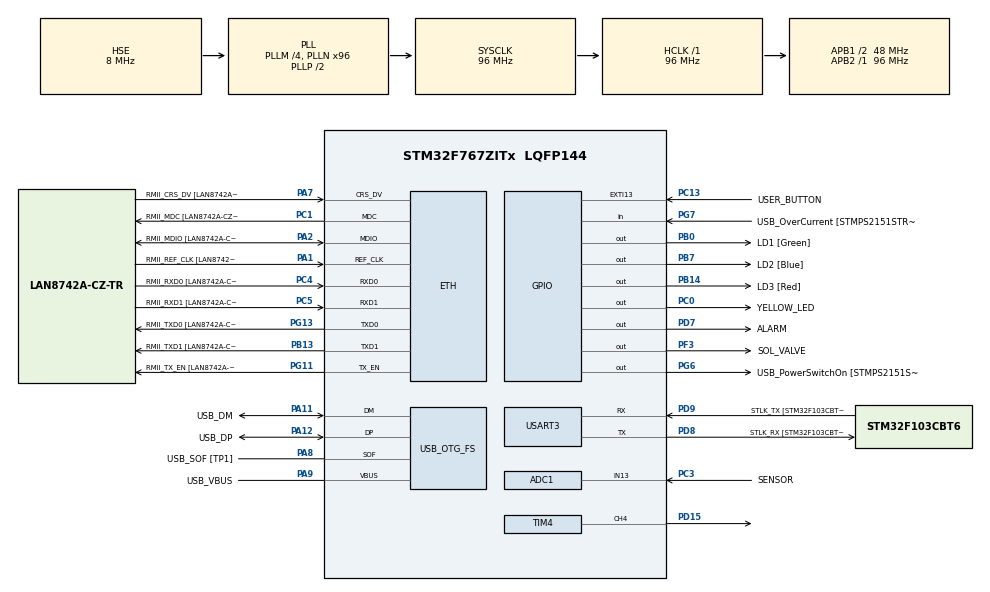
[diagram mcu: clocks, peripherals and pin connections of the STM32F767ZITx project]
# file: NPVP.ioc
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ADC1.Channel-0\#ChannelRegularConversion=ADC_CHANNEL_13
ADC1.ContinuousConvMode=ENABLE
ADC1.DMAContinuousRequests=DISABLE
ADC1.ExternalTrigConv=ADC_SOFTWARE_START
ADC1.InjNumberOfConversion=0
ADC1.NbrOfConversion=1
ADC1.NbrOfConversionFlag=1
ADC1.Rank-0\#ChannelRegularConversion=1
ADC1.SamplingTime-0\#ChannelRegularConversion=ADC_SAMPLETIME_480CYCLES
ADC1.master=1
ETH.MediaInterface=HAL_ETH_RMII_MODE
ETH.PHY_Name=LAN8742A_PHY_ADDRESS
ETH.PHY_Value=0
ETH.PhyAddress=0
Mcu.Family=STM32F7
Mcu.Name=STM32F767ZITx
Mcu.Package=LQFP144
NVIC.EXTI15_10_IRQn=true\:0\:0\:false\:false\:true\:true\:true\:true
NVIC.PriorityGroup=NVIC_PRIORITYGROUP_4
NVIC.TIM2_IRQn=true\:0\:0\:false\:false\:true\:true\:true\:true
NVIC.TIM6_DAC_IRQn=true\:0\:0\:false\:false\:true\:true\:true\:true
NVIC.TIM7_IRQn=true\:0\:0\:false\:false\:true\:true\:true\:true
NVIC.USART3_IRQn=true\:0\:0\:false\:false\:true\:true\:true\:true
PA1.GPIO_Label=RMII_REF_CLK [LAN8742A-CZ-TR_REFCLK0]
PA1.Mode=RMII
PA1.Signal=ETH_REF_CLK
PA10.GPIO_Label=USB_ID
PA10.Signal=USB_OTG_FS_ID
PA11.GPIO_Label=USB_DM
PA11.Mode=Device_Only
PA11.Signal=USB_OTG_FS_DM
PA12.GPIO_Label=USB_DP
PA12.Mode=Device_Only
PA12.Signal=USB_OTG_FS_DP
PA13.GPIO_Label=TMS
PA13.Mode=Serial_Wire
PA13.Signal=SYS_JTMS-SWDIO
PA14.GPIO_Label=TCK
PA14.Mode=Serial_Wire
PA14.Signal=SYS_JTCK-SWCLK
PA2.GPIO_Label=RMII_MDIO [LAN8742A-CZ-TR_MDIO]
PA2.Mode=RMII
PA2.Signal=ETH_MDIO
PA7.GPIO_Label=RMII_CRS_DV [LAN8742A-CZ-TR_CRS_DV]
PA7.Mode=RMII
PA7.Signal=ETH_CRS_DV
PA8.GPIO_Label=USB_SOF [TP1]
PA8.Mode=Activate_SOF_FS
PA8.Signal=USB_OTG_FS_SOF
PA9.GPIO_Label=USB_VBUS
PA9.Mode=Activate_VBUS
PA9.Signal=USB_OTG_FS_VBUS
PB0.GPIO_Label=LD1 [Green]
PB0.Signal=GPIO_Output
PB13.GPIO_Label=RMII_TXD1 [LAN8742A-CZ-TR_TXD1]
PB13.Mode=RMII
PB13.Signal=ETH_TXD1
PB14.GPIO_Label=LD3 [Red]
PB14.Signal=GPIO_Output
PB3.GPIO_Label=SWO
PB3.Signal=SYS_JTDO-SWO
PB7.GPIO_Label=LD2 [Blue]
PB7.Signal=GPIO_Output
PC0.GPIO_Label=YELLOW_LED
PC0.Signal=GPIO_Output
PC1.GPIO_Label=RMII_MDC [LAN8742A-CZ-TR_MDC]
PC1.Mode=RMII
PC1.Signal=ETH_MDC
PC13.GPIO_Label=USER_BUTTON
PC13.Signal=GPXTI13
PC14/OSC32_IN.Mode=LSE-External-Oscillator
PC14/OSC32_IN.Signal=RCC_OSC32_IN
PC15/OSC32_OUT.Mode=LSE-External-Oscillator
PC15/OSC32_OUT.Signal=RCC_OSC32_OUT
PC3.GPIO_Label=SENSOR
PC3.Signal=ADCx_IN13
PC4.GPIO_Label=RMII_RXD0 [LAN8742A-CZ-TR_RXD0]
PC4.Mode=RMII
PC4.Signal=ETH_RXD0
PC5.GPIO_Label=RMII_RXD1 [LAN8742A-CZ-TR_RXD1]
PC5.Mode=RMII
PC5.Signal=ETH_RXD1
PD15.Signal=S_TIM4_CH4
PD7.GPIO_Label=ALARM
PD7.GPIO_PuPd=GPIO_PULLDOWN
PD7.Signal=GPIO_Output
PD8.GPIO_Label=STLK_RX [STM32F103CBT6_PA3]
PD8.Mode=Asynchronous
PD8.Signal=USART3_TX
PD9.GPIO_Label=STLK_TX [STM32F103CBT6_PA2]
PD9.Mode=Asynchronous
PD9.Signal=USART3_RX
PE9.Signal=S_TIM1_CH1
PF3.GPIO_Label=SOL_VALVE
PF3.Signal=GPIO_Output
PG11.GPIO_Label=RMII_TX_EN [LAN8742A-CZ-TR_TXEN]
PG11.Mode=RMII
PG11.Signal=ETH_TX_EN
PG13.GPIO_Label=RMII_TXD0 [LAN8742A-CZ-TR_TXD0]
PG13.Mode=RMII
PG13.Signal=ETH_TXD0
PG6.GPIO_Label=USB_PowerSwitchOn [STMPS2151STR_EN]
PG6.Signal=GPIO_Output
PG7.GPIO_Label=USB_OverCurrent [STMPS2151STR_FAULT]
PG7.Signal=GPIO_Input
PH0/OSC_IN.GPIO_Label=MCO [STM32F103CBT6_PA8]
PH0/OSC_IN.Mode=HSE-External-Clock-Source
PH0/OSC_IN.Signal=RCC_OSC_IN
PH1/OSC_OUT.Mode=HSE-External-Clock-Source
PH1/OSC_OUT.Signal=RCC_OSC_OUT
ProjectManager.HeapSize=0x200
ProjectManager.StackSize=0x400
ProjectManager.TargetToolchain=STM32CubeIDE
RCC.48MHZClocksFreq_Value=24000000
RCC.AHBFreq_Value=96000000
RCC.APB1CLKDivider=RCC_HCLK_DIV2
RCC.APB1Freq_Value=48000000
RCC.APB1TimFreq_Value=96000000
RCC.APB2Freq_Value=96000000
RCC.APB2TimFreq_Value=96000000
RCC.CortexFreq_Value=96000000
RCC.HCLKFreq_Value=96000000
RCC.HSE_VALUE=8000000
RCC.HSI_VALUE=16000000
RCC.PLLM=4
RCC.PLLMUL=RCC_PLL_MUL9
RCC.PLLN=96
RCC.PLLQ=4
RCC.PRESCALERUSB=RCC_USBCLKSOURCE_PLL_DIV1_5
RCC.SYSCLKFreq_VALUE=96000000
RCC.SYSCLKSource=RCC_SYSCLKSOURCE_PLLCLK
RCC.SYSCLKSourceVirtual=RCC_SYSCLKSOURCE_PLLCLK
RCC.USBFreq_Value=48000000
RCC.VCOOutputFreq_Value=192000000
SH.ADCx_IN13.0=ADC1_IN13,IN13
SH.S_TIM1_CH1.0=TIM1_CH1
SH.S_TIM4_CH4.0=TIM4_CH4,PWM Generation4 CH4
TIM2.Period=64000-1
TIM2.Prescaler=3-1
TIM2.TIM_MasterOutputTrigger=TIM_TRGO_RESET
TIM4.AutoReloadPreload=TIM_AUTORELOAD_PRELOAD_DISABLE
TIM4.Channel-PWM\ Generation4\ CH4=TIM_CHANNEL_4
TIM4.Period=9600-1
TIM4.Prescaler=2-1
TIM4.Pulse-PWM\ Generation4\ CH4=0
TIM4.TIM_MasterOutputTrigger=TIM_TRGO_RESET
TIM6.Period=48000-1
TIM6.Prescaler=2-1
TIM7.Period=48000-1
TIM7.Prescaler=2-1
USART3.VirtualMode-Asynchronous=VM_ASYNC
USB_OTG_FS.VirtualMode=Device_Only
VP_TIM2_VS_ClockSourceINT.Mode=Internal
VP_TIM4_VS_ClockSourceINT.Mode=Internal
VP_TIM6_VS_ClockSourceINT.Mode=Enable_Timer
VP_TIM7_VS_ClockSourceINT.Mode=Enable_Timer
board=NUCLEO-F767ZI

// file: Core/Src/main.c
/* USER CODE BEGIN Header */
/**
  ******************************************************************************
  * @file           : main.c
  * @brief          : Main program body
  ******************************************************************************
  * @attention
  *
  * Copyright (c) 2024 STMicroelectronics.
  * All rights reserved.
  *
  * This software is licensed under terms that can be found in the LICENSE file
  * in the root directory of this software component.
  * If no LICENSE file comes with this software, it is provided AS-IS.
  *
  ******************************************************************************
  */
/* USER CODE END Header */
#include "main.h"
#include "string.h"

/* USER CODE BEGIN Includes */
#include <stdio.h>
#include <stdlib.h>
#include <stdbool.h>

/* USER CODE END Includes */

/* USER CODE BEGIN PD */
// Temp
#define SAMPLE_SIZE 64
#define PULSE 5800 // 60.2%, i.e. 15inH2O
// Temp
#define ON 1
#define OFF 0
#define KNOWN_REF_PRESSURE 0
#define SENSOR_SENSITIVITY 0.286 // V/kPa
#define OUTPUT_VOLTAGE_MAX 5
#define OUTPUT_VOLTAGE_MIN 0
#define ADC_THRESHOLD 100  // Define a threshold for detecting sensor disconnection
#define ADC_IDEAL_ZERO_PRESSURE_VALUE 3102.2727
#define TIME_IN_SECONDS 60

/* USER CODE END PD */

#if defined ( __ICCARM__ ) /*!< IAR Compiler */
#pragma location=0x2007c000
ETH_DMADescTypeDef  DMARxDscrTab[ETH_RX_DESC_CNT]; /* Ethernet Rx DMA Descriptors */
#pragma location=0x2007c0a0
ETH_DMADescTypeDef  DMATxDscrTab[ETH_TX_DESC_CNT]; /* Ethernet Tx DMA Descriptors */

#elif defined ( __CC_ARM )  /* MDK ARM Compiler */

__attribute__((at(0x2007c000))) ETH_DMADescTypeDef  DMARxDscrTab[ETH_RX_DESC_CNT]; /* Ethernet Rx DMA Descriptors */
__attribute__((at(0x2007c0a0))) ETH_DMADescTypeDef  DMATxDscrTab[ETH_TX_DESC_CNT]; /* Ethernet Tx DMA Descriptors */

#elif defined ( __GNUC__ ) /* GNU Compiler */

ETH_DMADescTypeDef DMARxDscrTab[ETH_RX_DESC_CNT] __attribute__((section(".RxDecripSection"))); /* Ethernet Rx DMA Descriptors */
ETH_DMADescTypeDef DMATxDscrTab[ETH_TX_DESC_CNT] __attribute__((section(".TxDecripSection")));   /* Ethernet Tx DMA Descriptors */
#endif

ETH_TxPacketConfig TxConfig;

ADC_HandleTypeDef hadc1;

ETH_HandleTypeDef heth;

TIM_HandleTypeDef htim2;
TIM_HandleTypeDef htim4;
TIM_HandleTypeDef htim6;
TIM_HandleTypeDef htim7;

UART_HandleTypeDef huart3;

PCD_HandleTypeDef hpcd_USB_OTG_FS;

/* USER CODE BEGIN PV */

// NOTE: ADC LOW-PASS FILTER @ ~222 Hz w/ 0.47uF capacitor and 1.5k ohms resistor
// NOTE: TIMER 2 @ 500Hz is for ADC. MPXV7007 response time is 1ms
// NOTE: TIMER 4 @ 5kHz is for the blower PWM signal
// NOTE: TIMER 6 @ 1kHz is for sensor warm up, which is 20ms
// NOTE: TIMER 7 @ 1kHz is for alarm
// NOTE: Sensor Pin: A2 pin
// NOTE: Solenoid valve: A3 pin
// NOTE: Alarm: D5 pin

// Temp
//volatile uint32_t adc_buffer[SAMPLE_SIZE];
uint32_t tim2_counter = 0;
uint32_t pulse_rate = PULSE;
uint32_t inhale = 1;
uint32_t exhale = 0;

// Sensor Settings
int sensor_status = OFF;
int start_up_status = ON;
int calibration_status = ON;

float adc_sum = 0.0;
float sample_count = 0.0;
int sampling_done = 0;

uint32_t raw_adc_value = 0;
uint32_t adc_total;

float adc_value = 0.0;
float avg_adc_value = 0.0;
float measured_kpa_pressure = 0.0;
float measured_voltage_value = 0.0;
float auto_zero_pressure_value = 0.0;
float measured_cmh2o_pressure = 0.0;
float measured_inh2o_pressure = 0.0;

// Respiratory Settings
uint32_t breath_rate = 16; // per minute
uint32_t inspiratory_ratio_portion = 1;
uint32_t expiratory_ratio_portion = 2;
float single_breath_time_length;
float inspiratory_length;
float expiratory_length;

// Pressure settings
float inspiratory_pressure_value = -20.0; // inh2o
float expiratory_pressure_value = 0.0; // inh2o

// PID controller parameters
float Kp = 1.0f;
float Ki = 0.5f;
float Kd = 0.1f;
float setpoint; // Desired pressure in inH2O

// PID controller variables
float integral = 0.0f;
float previous_error = 0.0f;

// Terminal output
char output_message[100];

/* USER CODE END PV */

void SystemClock_Config(void);
static void MX_GPIO_Init(void);
static void MX_ADC1_Init(void);
static void MX_ETH_Init(void);
static void MX_TIM2_Init(void);
static void MX_TIM4_Init(void);
static void MX_USART3_UART_Init(void);
static void MX_USB_OTG_FS_PCD_Init(void);
static void MX_TIM6_Init(void);
static void MX_TIM7_Init(void);
/* USER CODE BEGIN PFP */

void func_clear_values(void);
void func_sensor_connection_status(void);
void func_monitor_sensor_status(void);
void func_calibrate_sensor(void);
void func_average_adc_measurement(void);
void func_adc_conversion(void);
void func_get_adc_value(void);
void func_adc_to_voltage(void);
void func_voltage_to_kpa(void);
void func_kpa_to_cmh2o(void);
void func_kpa_to_inh2o(void);
void func_auto_zero(void);
void func_measurements_to_terminal(void);

/* USER CODE END PFP */

/* USER CODE BEGIN 0 */

// Clear variable values
void func_clear_values(void){

	raw_adc_value = 0;
	measured_voltage_value = 0.0;

}

// Initial sensor connection status
void func_sensor_connection_status(void){
//	int *sensor_status_ptr = &sensor_status;
	func_clear_values();

	HAL_ADC_Stop(&hadc1);
	HAL_ADC_Start(&hadc1);
	HAL_ADC_PollForConversion(&hadc1, HAL_MAX_DELAY);

	//Get new measurements
	func_get_adc_value(); // Does not need to be an average
	func_adc_to_voltage();

//	if(measured_voltage_value < 0.1)
	if(measured_voltage_value < 0.1){
		sprintf(output_message, "+++ SENSOR DISCONNECTED +++\r\n");
		HAL_UART_Transmit(&huart3,(uint8_t *)output_message, strlen(output_message), HAL_MAX_DELAY);
		HAL_Delay(500);
	} else {
		sensor_status = OFF;
	}
}

// Sensor connection monitoring
void func_monitor_sensor_status(void){
	if(measured_voltage_value < 0.1){
		sensor_status = ON;
	}
}

// Calibrate sensor
void func_calibrate_sensor(void){
	// Get average ADC value
	func_average_adc_measurement();

	// Set auto-zero value
	func_auto_zero();
	calibration_status = OFF;

}

// Get measurement values
void func_adc_conversion(void){
	func_adc_to_voltage();
	func_voltage_to_kpa();
	func_kpa_to_cmh2o();
	func_kpa_to_inh2o();

}

// Average measurement
void func_average_adc_measurement(void) {
	avg_adc_value = (float)adc_total / tim2_counter;

	if (!calibration_status) {
		func_adc_conversion();
	}
//	uint32_t i;
//
//	for (i = 0; i < SAMPLE_SIZE; i++) {
//		bagel = adc_buffer[i];
//		adc_total = adc_total + adc_buffer[i];
//	}
//	avg_adc_value = (float)adc_total / SAMPLE_SIZE;
}

// New measurement
void new_measurement(void){
	func_get_adc_value();
	func_adc_conversion();

}

// Get ADC value
void func_get_adc_value(void){
	HAL_ADC_Stop(&hadc1);
	HAL_ADC_Start(&hadc1);
	HAL_ADC_PollForConversion(&hadc1, HAL_MAX_DELAY);
	raw_adc_value = HAL_ADC_GetValue(&hadc1);
}

// Auto-zero
void func_auto_zero(void){
//	float *auto_zero_pressure_ptr = &auto_zero_pressure_value;
	func_adc_to_voltage();
	func_voltage_to_kpa();
	auto_zero_pressure_value =  measured_kpa_pressure - KNOWN_REF_PRESSURE;
}

// ADC to voltage
void func_adc_to_voltage(void){

	measured_voltage_value = (avg_adc_value * 3.3) / 4095;
//
//	if(sensor_status){
//		measured_voltage_value = ((float)raw_adc_value * 3.3) / 4095;
//	} else {
//		measured_voltage_value = (avg_adc_value * 3.3) / 4095;
//	}
}

// Voltage to Pa
void func_voltage_to_kpa(void){
	measured_kpa_pressure = ((measured_voltage_value / OUTPUT_VOLTAGE_MAX) - 0.5) / 0.057;

	if(!calibration_status){
		measured_kpa_pressure = measured_kpa_pressure - auto_zero_pressure_value;
	}
}

// psi to cmh2o
void func_kpa_to_cmh2o(void){
	measured_cmh2o_pressure = measured_kpa_pressure * 10.1971621298;
}

// psi to inh2o
void func_kpa_to_inh2o(void){
	measured_inh2o_pressure = measured_kpa_pressure * 4.01463;
}

void func_measurements_to_terminal(void) {
	sprintf(output_message, "Raw ADC Value: %lu, Voltage: %.2fV, kpa: %.1fkpa, inh2o: %.1finh2o\r\n", raw_adc_value, measured_voltage_value, measured_kpa_pressure, measured_inh2o_pressure);
	HAL_UART_Transmit(&huart3,(uint8_t *)output_message, strlen(output_message), HAL_MAX_DELAY);
}

/* USER CODE END 0 */

int main(void)
{

  /* USER CODE BEGIN 1 */
// Initialize breath cycle variables
	single_breath_time_length = 60 / (float)breath_rate; // secs
	inspiratory_length = single_breath_time_length / (inspiratory_ratio_portion + expiratory_ratio_portion); // secs
	expiratory_length = single_breath_time_length - inspiratory_length; // secs

  /* USER CODE END 1 */

  /* MCU Configuration--------------------------------------------------------*/

  /* Reset of all peripherals, Initializes the Flash interface and the Systick. */
  HAL_Init();

  /* Configure the system clock */
  SystemClock_Config();

  /* Initialize all configured peripherals */
  MX_GPIO_Init();
  MX_ADC1_Init();
  MX_ETH_Init();
  MX_TIM2_Init();
  MX_TIM4_Init();
  MX_USART3_UART_Init();
  MX_USB_OTG_FS_PCD_Init();
  MX_TIM6_Init();
  MX_TIM7_Init();
  /* USER CODE BEGIN 2 */

//  // Check initial sensor connection.
//  func_sensor_connection_status();

  // Initialize setpoint
//  setpoint = inspiratory_pressure_value;

  // Start PWM
//  HAL_TIM_PWM_Start(&htim4, TIM_CHANNEL_4);
//  int pulse = 4800;

  /* USER CODE END 2 */

  /* Infinite loop */
  /* USER CODE BEGIN WHILE */

  while (1)
  {
	  // PWM temporary test
//	  if(pulse == 4800){
//		  __HAL_TIM_SET_COMPARE(&htim4, TIM_CHANNEL_4, pulse);
//		  HAL_Delay(1000);
//		  pulse = 0;
//	  }
//
//	  if(pulse == 0){
//		  __HAL_TIM_SET_COMPARE(&htim4, TIM_CHANNEL_4, pulse);
//		  HAL_Delay(2000);
//		  pulse = 4800;
//	  }

//	  // Ongoing sensor connection status
//	  func_monitor_sensor_status();
//
//	  while(sensor_status){
//		  func_sensor_connection_status();
//	  }
//
//	  // Take and convert measurement
//	  new_measurement();
//
//      // PID control calculations
//
//
//	  // Output to terminal
//	  sprintf(output_message, "Raw ADC Value: %.2f, Voltage: %.2fV, kpa: %.1fkpa, inh2o: %.1finh2o\r\n", raw_adc_value, measured_voltage_value, measured_kpa_pressure, measured_inh2o_pressure);
//	  HAL_UART_Transmit(&huart3,(uint8_t *)output_message, strlen(output_message), HAL_MAX_DELAY);
//	  HAL_Delay(500);

    /* USER CODE END WHILE */

  }
}

void SystemClock_Config(void)
{
  RCC_OscInitTypeDef RCC_OscInitStruct = {0};
  RCC_ClkInitTypeDef RCC_ClkInitStruct = {0};

  /** Configure LSE Drive Capability
  */
  HAL_PWR_EnableBkUpAccess();

  /** Configure the main internal regulator output voltage
  */
  __HAL_RCC_PWR_CLK_ENABLE();
  __HAL_PWR_VOLTAGESCALING_CONFIG(PWR_REGULATOR_VOLTAGE_SCALE3);

  /** Initializes the RCC Oscillators according to the specified parameters
  * in the RCC_OscInitTypeDef structure.
  */
  RCC_OscInitStruct.OscillatorType = RCC_OSCILLATORTYPE_HSE;
  RCC_OscInitStruct.HSEState = RCC_HSE_BYPASS;
  RCC_OscInitStruct.PLL.PLLState = RCC_PLL_ON;
  RCC_OscInitStruct.PLL.PLLSource = RCC_PLLSOURCE_HSE;
  RCC_OscInitStruct.PLL.PLLM = 4;
  RCC_OscInitStruct.PLL.PLLN = 96;
  RCC_OscInitStruct.PLL.PLLP = RCC_PLLP_DIV2;
  RCC_OscInitStruct.PLL.PLLQ = 4;
  RCC_OscInitStruct.PLL.PLLR = 2;
  if (HAL_RCC_OscConfig(&RCC_OscInitStruct) != HAL_OK)
  {
    Error_Handler();
  }

  /** Activate the Over-Drive mode
  */
  if (HAL_PWREx_EnableOverDrive() != HAL_OK)
  {
    Error_Handler();
  }

  /** Initializes the CPU, AHB and APB buses clocks
  */
  RCC_ClkInitStruct.ClockType = RCC_CLOCKTYPE_HCLK|RCC_CLOCKTYPE_SYSCLK
                              |RCC_CLOCKTYPE_PCLK1|RCC_CLOCKTYPE_PCLK2;
  RCC_ClkInitStruct.SYSCLKSource = RCC_SYSCLKSOURCE_PLLCLK;
  RCC_ClkInitStruct.AHBCLKDivider = RCC_SYSCLK_DIV1;
  RCC_ClkInitStruct.APB1CLKDivider = RCC_HCLK_DIV2;
  RCC_ClkInitStruct.APB2CLKDivider = RCC_HCLK_DIV1;

  if (HAL_RCC_ClockConfig(&RCC_ClkInitStruct, FLASH_LATENCY_3) != HAL_OK)
  {
    Error_Handler();
  }
}

static void MX_ADC1_Init(void)
{

  ADC_ChannelConfTypeDef sConfig = {0};

  /** Configure the global features of the ADC (Clock, Resolution, Data Alignment and number of conversion)
  */
  hadc1.Instance = ADC1;
  hadc1.Init.ClockPrescaler = ADC_CLOCK_SYNC_PCLK_DIV4;
  hadc1.Init.Resolution = ADC_RESOLUTION_12B;
  hadc1.Init.ScanConvMode = ADC_SCAN_DISABLE;
  hadc1.Init.ContinuousConvMode = ENABLE;
  hadc1.Init.DiscontinuousConvMode = DISABLE;
  hadc1.Init.ExternalTrigConvEdge = ADC_EXTERNALTRIGCONVEDGE_NONE;
  hadc1.Init.ExternalTrigConv = ADC_SOFTWARE_START;
  hadc1.Init.DataAlign = ADC_DATAALIGN_RIGHT;
  hadc1.Init.NbrOfConversion = 1;
  hadc1.Init.DMAContinuousRequests = DISABLE;
  hadc1.Init.EOCSelection = ADC_EOC_SINGLE_CONV;
  if (HAL_ADC_Init(&hadc1) != HAL_OK)
  {
    Error_Handler();
  }

  /** Configure for the selected ADC regular channel its corresponding rank in the sequencer and its sample time.
  */
  sConfig.Channel = ADC_CHANNEL_13;
  sConfig.Rank = ADC_REGULAR_RANK_1;
  sConfig.SamplingTime = ADC_SAMPLETIME_480CYCLES;
  if (HAL_ADC_ConfigChannel(&hadc1, &sConfig) != HAL_OK)
  {
    Error_Handler();
  }

}

static void MX_ETH_Init(void)
{

   static uint8_t MACAddr[6];

  heth.Instance = ETH;
  MACAddr[0] = 0x00;
  MACAddr[1] = 0x80;
  MACAddr[2] = 0xE1;
  MACAddr[3] = 0x00;
  MACAddr[4] = 0x00;
  MACAddr[5] = 0x00;
  heth.Init.MACAddr = &MACAddr[0];
  heth.Init.MediaInterface = HAL_ETH_RMII_MODE;
  heth.Init.TxDesc = DMATxDscrTab;
  heth.Init.RxDesc = DMARxDscrTab;
  heth.Init.RxBuffLen = 1524;

  if (HAL_ETH_Init(&heth) != HAL_OK)
  {
    Error_Handler();
  }

  memset(&TxConfig, 0 , sizeof(ETH_TxPacketConfig));
  TxConfig.Attributes = ETH_TX_PACKETS_FEATURES_CSUM | ETH_TX_PACKETS_FEATURES_CRCPAD;
  TxConfig.ChecksumCtrl = ETH_CHECKSUM_IPHDR_PAYLOAD_INSERT_PHDR_CALC;
  TxConfig.CRCPadCtrl = ETH_CRC_PAD_INSERT;

}

static void MX_TIM2_Init(void)
{

  TIM_ClockConfigTypeDef sClockSourceConfig = {0};
  TIM_MasterConfigTypeDef sMasterConfig = {0};

  htim2.Instance = TIM2;
  htim2.Init.Prescaler = 3-1;
  htim2.Init.CounterMode = TIM_COUNTERMODE_UP;
  htim2.Init.Period = 64000-1;
  htim2.Init.ClockDivision = TIM_CLOCKDIVISION_DIV1;
  htim2.Init.AutoReloadPreload = TIM_AUTORELOAD_PRELOAD_DISABLE;
  if (HAL_TIM_Base_Init(&htim2) != HAL_OK)
  {
    Error_Handler();
  }
  sClockSourceConfig.ClockSource = TIM_CLOCKSOURCE_INTERNAL;
  if (HAL_TIM_ConfigClockSource(&htim2, &sClockSourceConfig) != HAL_OK)
  {
    Error_Handler();
  }
  sMasterConfig.MasterOutputTrigger = TIM_TRGO_RESET;
  sMasterConfig.MasterSlaveMode = TIM_MASTERSLAVEMODE_DISABLE;
  if (HAL_TIMEx_MasterConfigSynchronization(&htim2, &sMasterConfig) != HAL_OK)
  {
    Error_Handler();
  }

}

static void MX_TIM4_Init(void)
{

  TIM_ClockConfigTypeDef sClockSourceConfig = {0};
  TIM_MasterConfigTypeDef sMasterConfig = {0};
  TIM_OC_InitTypeDef sConfigOC = {0};

  htim4.Instance = TIM4;
  htim4.Init.Prescaler = 2-1;
  htim4.Init.CounterMode = TIM_COUNTERMODE_UP;
  htim4.Init.Period = 9600-1;
  htim4.Init.ClockDivision = TIM_CLOCKDIVISION_DIV1;
  htim4.Init.AutoReloadPreload = TIM_AUTORELOAD_PRELOAD_DISABLE;
  if (HAL_TIM_Base_Init(&htim4) != HAL_OK)
  {
    Error_Handler();
  }
  sClockSourceConfig.ClockSource = TIM_CLOCKSOURCE_INTERNAL;
  if (HAL_TIM_ConfigClockSource(&htim4, &sClockSourceConfig) != HAL_OK)
  {
    Error_Handler();
  }
  if (HAL_TIM_PWM_Init(&htim4) != HAL_OK)
  {
    Error_Handler();
  }
  sMasterConfig.MasterOutputTrigger = TIM_TRGO_RESET;
  sMasterConfig.MasterSlaveMode = TIM_MASTERSLAVEMODE_DISABLE;
  if (HAL_TIMEx_MasterConfigSynchronization(&htim4, &sMasterConfig) != HAL_OK)
  {
    Error_Handler();
  }
  sConfigOC.OCMode = TIM_OCMODE_PWM1;
  sConfigOC.Pulse = 0;
  sConfigOC.OCPolarity = TIM_OCPOLARITY_HIGH;
  sConfigOC.OCFastMode = TIM_OCFAST_DISABLE;
  if (HAL_TIM_PWM_ConfigChannel(&htim4, &sConfigOC, TIM_CHANNEL_4) != HAL_OK)
  {
    Error_Handler();
  }
  HAL_TIM_MspPostInit(&htim4);

}

static void MX_TIM6_Init(void)
{

  TIM_MasterConfigTypeDef sMasterConfig = {0};

  htim6.Instance = TIM6;
  htim6.Init.Prescaler = 2-1;
  htim6.Init.CounterMode = TIM_COUNTERMODE_UP;
  htim6.Init.Period = 48000-1;
  htim6.Init.AutoReloadPreload = TIM_AUTORELOAD_PRELOAD_DISABLE;
  if (HAL_TIM_Base_Init(&htim6) != HAL_OK)
  {
    Error_Handler();
  }
  sMasterConfig.MasterOutputTrigger = TIM_TRGO_RESET;
  sMasterConfig.MasterSlaveMode = TIM_MASTERSLAVEMODE_DISABLE;
  if (HAL_TIMEx_MasterConfigSynchronization(&htim6, &sMasterConfig) != HAL_OK)
  {
    Error_Handler();
  }
  /* USER CODE BEGIN TIM6_Init 2 */
  HAL_TIM_Base_Start_IT(&htim6);
  HAL_TIM_Base_Start(&htim6);
  /* USER CODE END TIM6_Init 2 */

}

static void MX_TIM7_Init(void)
{

  TIM_MasterConfigTypeDef sMasterConfig = {0};

  htim7.Instance = TIM7;
  htim7.Init.Prescaler = 2-1;
  htim7.Init.CounterMode = TIM_COUNTERMODE_UP;
  htim7.Init.Period = 48000-1;
  htim7.Init.AutoReloadPreload = TIM_AUTORELOAD_PRELOAD_DISABLE;
  if (HAL_TIM_Base_Init(&htim7) != HAL_OK)
  {
    Error_Handler();
  }
  sMasterConfig.MasterOutputTrigger = TIM_TRGO_RESET;
  sMasterConfig.MasterSlaveMode = TIM_MASTERSLAVEMODE_DISABLE;
  if (HAL_TIMEx_MasterConfigSynchronization(&htim7, &sMasterConfig) != HAL_OK)
  {
    Error_Handler();
  }
  /* USER CODE BEGIN TIM7_Init 2 */
  HAL_TIM_Base_Start_IT(&htim7);
  HAL_TIM_Base_Start(&htim7);
  /* USER CODE END TIM7_Init 2 */

}

static void MX_USART3_UART_Init(void)
{

  huart3.Instance = USART3;
  huart3.Init.BaudRate = 115200;
  huart3.Init.WordLength = UART_WORDLENGTH_8B;
  huart3.Init.StopBits = UART_STOPBITS_1;
  huart3.Init.Parity = UART_PARITY_NONE;
  huart3.Init.Mode = UART_MODE_TX_RX;
  huart3.Init.HwFlowCtl = UART_HWCONTROL_NONE;
  huart3.Init.OverSampling = UART_OVERSAMPLING_16;
  huart3.Init.OneBitSampling = UART_ONE_BIT_SAMPLE_DISABLE;
  huart3.AdvancedInit.AdvFeatureInit = UART_ADVFEATURE_NO_INIT;
  if (HAL_UART_Init(&huart3) != HAL_OK)
  {
    Error_Handler();
  }

}

static void MX_USB_OTG_FS_PCD_Init(void)
{

  hpcd_USB_OTG_FS.Instance = USB_OTG_FS;
  hpcd_USB_OTG_FS.Init.dev_endpoints = 6;
  hpcd_USB_OTG_FS.Init.speed = PCD_SPEED_FULL;
  hpcd_USB_OTG_FS.Init.dma_enable = DISABLE;
  hpcd_USB_OTG_FS.Init.phy_itface = PCD_PHY_EMBEDDED;
  hpcd_USB_OTG_FS.Init.Sof_enable = ENABLE;
  hpcd_USB_OTG_FS.Init.low_power_enable = DISABLE;
  hpcd_USB_OTG_FS.Init.lpm_enable = DISABLE;
  hpcd_USB_OTG_FS.Init.vbus_sensing_enable = ENABLE;
  hpcd_USB_OTG_FS.Init.use_dedicated_ep1 = DISABLE;
  if (HAL_PCD_Init(&hpcd_USB_OTG_FS) != HAL_OK)
  {
    Error_Handler();
  }

}

static void MX_GPIO_Init(void)
{
  GPIO_InitTypeDef GPIO_InitStruct = {0};

  /* GPIO Ports Clock Enable */
  __HAL_RCC_GPIOC_CLK_ENABLE();
  __HAL_RCC_GPIOF_CLK_ENABLE();
  __HAL_RCC_GPIOH_CLK_ENABLE();
  __HAL_RCC_GPIOA_CLK_ENABLE();
  __HAL_RCC_GPIOB_CLK_ENABLE();
  __HAL_RCC_GPIOE_CLK_ENABLE();
  __HAL_RCC_GPIOD_CLK_ENABLE();
  __HAL_RCC_GPIOG_CLK_ENABLE();

  /*Configure GPIO pin Output Level */
  HAL_GPIO_WritePin(SOL_VALVE_GPIO_Port, SOL_VALVE_Pin, GPIO_PIN_RESET);

  /*Configure GPIO pin Output Level */
  HAL_GPIO_WritePin(YELLOW_LED_GPIO_Port, YELLOW_LED_Pin, GPIO_PIN_RESET);

  /*Configure GPIO pin Output Level */
  HAL_GPIO_WritePin(GPIOB, LD1_Pin|LD3_Pin|LD2_Pin, GPIO_PIN_RESET);

  /*Configure GPIO pin Output Level */
  HAL_GPIO_WritePin(USB_PowerSwitchOn_GPIO_Port, USB_PowerSwitchOn_Pin, GPIO_PIN_RESET);

  /*Configure GPIO pin Output Level */
  HAL_GPIO_WritePin(ALARM_GPIO_Port, ALARM_Pin, GPIO_PIN_RESET);

  /*Configure GPIO pin : USER_BUTTON_Pin */
  GPIO_InitStruct.Pin = USER_BUTTON_Pin;
  GPIO_InitStruct.Mode = GPIO_MODE_IT_RISING;
  GPIO_InitStruct.Pull = GPIO_NOPULL;
  HAL_GPIO_Init(USER_BUTTON_GPIO_Port, &GPIO_InitStruct);

  /*Configure GPIO pin : SOL_VALVE_Pin */
  GPIO_InitStruct.Pin = SOL_VALVE_Pin;
  GPIO_InitStruct.Mode = GPIO_MODE_OUTPUT_PP;
  GPIO_InitStruct.Pull = GPIO_NOPULL;
  GPIO_InitStruct.Speed = GPIO_SPEED_FREQ_LOW;
  HAL_GPIO_Init(SOL_VALVE_GPIO_Port, &GPIO_InitStruct);

  /*Configure GPIO pin : YELLOW_LED_Pin */
  GPIO_InitStruct.Pin = YELLOW_LED_Pin;
  GPIO_InitStruct.Mode = GPIO_MODE_OUTPUT_PP;
  GPIO_InitStruct.Pull = GPIO_NOPULL;
  GPIO_InitStruct.Speed = GPIO_SPEED_FREQ_LOW;
  HAL_GPIO_Init(YELLOW_LED_GPIO_Port, &GPIO_InitStruct);

  /*Configure GPIO pins : LD1_Pin LD3_Pin LD2_Pin */
  GPIO_InitStruct.Pin = LD1_Pin|LD3_Pin|LD2_Pin;
  GPIO_InitStruct.Mode = GPIO_MODE_OUTPUT_PP;
  GPIO_InitStruct.Pull = GPIO_NOPULL;
  GPIO_InitStruct.Speed = GPIO_SPEED_FREQ_LOW;
  HAL_GPIO_Init(GPIOB, &GPIO_InitStruct);

  /*Configure GPIO pin : PE9 */
  GPIO_InitStruct.Pin = GPIO_PIN_9;
  GPIO_InitStruct.Mode = GPIO_MODE_AF_PP;
  GPIO_InitStruct.Pull = GPIO_NOPULL;
  GPIO_InitStruct.Speed = GPIO_SPEED_FREQ_LOW;
  GPIO_InitStruct.Alternate = GPIO_AF1_TIM1;
  HAL_GPIO_Init(GPIOE, &GPIO_InitStruct);

  /*Configure GPIO pin : USB_PowerSwitchOn_Pin */
  GPIO_InitStruct.Pin = USB_PowerSwitchOn_Pin;
  GPIO_InitStruct.Mode = GPIO_MODE_OUTPUT_PP;
  GPIO_InitStruct.Pull = GPIO_NOPULL;
  GPIO_InitStruct.Speed = GPIO_SPEED_FREQ_LOW;
  HAL_GPIO_Init(USB_PowerSwitchOn_GPIO_Port, &GPIO_InitStruct);

  /*Configure GPIO pin : USB_OverCurrent_Pin */
  GPIO_InitStruct.Pin = USB_OverCurrent_Pin;
  GPIO_InitStruct.Mode = GPIO_MODE_INPUT;
  GPIO_InitStruct.Pull = GPIO_NOPULL;
  HAL_GPIO_Init(USB_OverCurrent_GPIO_Port, &GPIO_InitStruct);

  /*Configure GPIO pin : ALARM_Pin */
  GPIO_InitStruct.Pin = ALARM_Pin;
  GPIO_InitStruct.Mode = GPIO_MODE_OUTPUT_PP;
  GPIO_InitStruct.Pull = GPIO_PULLDOWN;
  GPIO_InitStruct.Speed = GPIO_SPEED_FREQ_LOW;
  HAL_GPIO_Init(ALARM_GPIO_Port, &GPIO_InitStruct);

  /* EXTI interrupt init*/
  HAL_NVIC_SetPriority(EXTI15_10_IRQn, 0, 0);
  HAL_NVIC_EnableIRQ(EXTI15_10_IRQn);

}

/* USER CODE BEGIN 4 */
void HAL_TIM_PeriodElapsedCallback(TIM_HandleTypeDef *htim) {

    if (htim->Instance == TIM6) { // Sensor calibration
    	static uint32_t counter = 0;
    	counter++;
    	if (calibration_status){
    		if (counter == 20) { // counts to 20ms
    			HAL_TIM_Base_Start_IT(&htim2);
    			HAL_TIM_Base_Start(&htim2);
    			counter = 0;
    		}
    	} else if (inhale) {
    		HAL_TIM_PWM_Start(&htim4, TIM_CHANNEL_4);
    		if (counter == inspiratory_length * 1000) {
    			inhale = OFF;
    			exhale = ON;
    			counter = 0;
    			pulse_rate = 0;
    			func_measurements_to_terminal();
    		}
    	} else if (exhale) {
    		HAL_TIM_PWM_Stop(&htim4, TIM_CHANNEL_4);
    		if (counter == expiratory_length * 1000) {
    			exhale = OFF;
    			inhale = ON;
    			counter = 0;
    			pulse_rate = PULSE;
    		}
    	}
    } else if (htim->Instance == TIM7) { // Alarm monitoring
    	HAL_GPIO_WritePin(ALARM_GPIO_Port, ALARM_Pin, SET);
    	static uint32_t counter_two = 0;
    	counter_two++;
    	if (counter_two == 2000) {
    		HAL_TIM_Base_Stop_IT(&htim7);
    		HAL_GPIO_WritePin(ALARM_GPIO_Port, ALARM_Pin, RESET);
    	}
    } else if (htim->Instance == TIM2) {
    	tim2_counter++;
    	func_get_adc_value();
    	adc_total = adc_total + raw_adc_value;
    	if (tim2_counter == SAMPLE_SIZE) {
    		if (calibration_status) {
    			func_calibrate_sensor();
    			tim2_counter = 0;
    			adc_total = 0;
    		} else {
    			func_average_adc_measurement();
//    			func_measurements_to_terminal();
    			tim2_counter = 0;
    			adc_total = 0;
    		}
    	}
    }
}

// DMA Transfer Complete callback
//void HAL_ADC_ConvCpltCallback(ADC_HandleTypeDef* hadc) {
//	if (hadc->Instance == ADC1) {
//		func_calibrate_sensor();
//	}
//		if (calibration_status) {
//			func_calibrate_sensor();
//			calibration_status = 0;
//		} else {
//			func_average_adc_measurement();
//		}
//}

// DMA Half Transfer Complete callback
//void HAL_ADC_ConvHalfCpltCallback(ADC_HandleTypeDef* hadc) {
//
//}
/* USER CODE END 4 */

void Error_Handler(void)
{
  __disable_irq();
  while (1)
  {
  }
}
